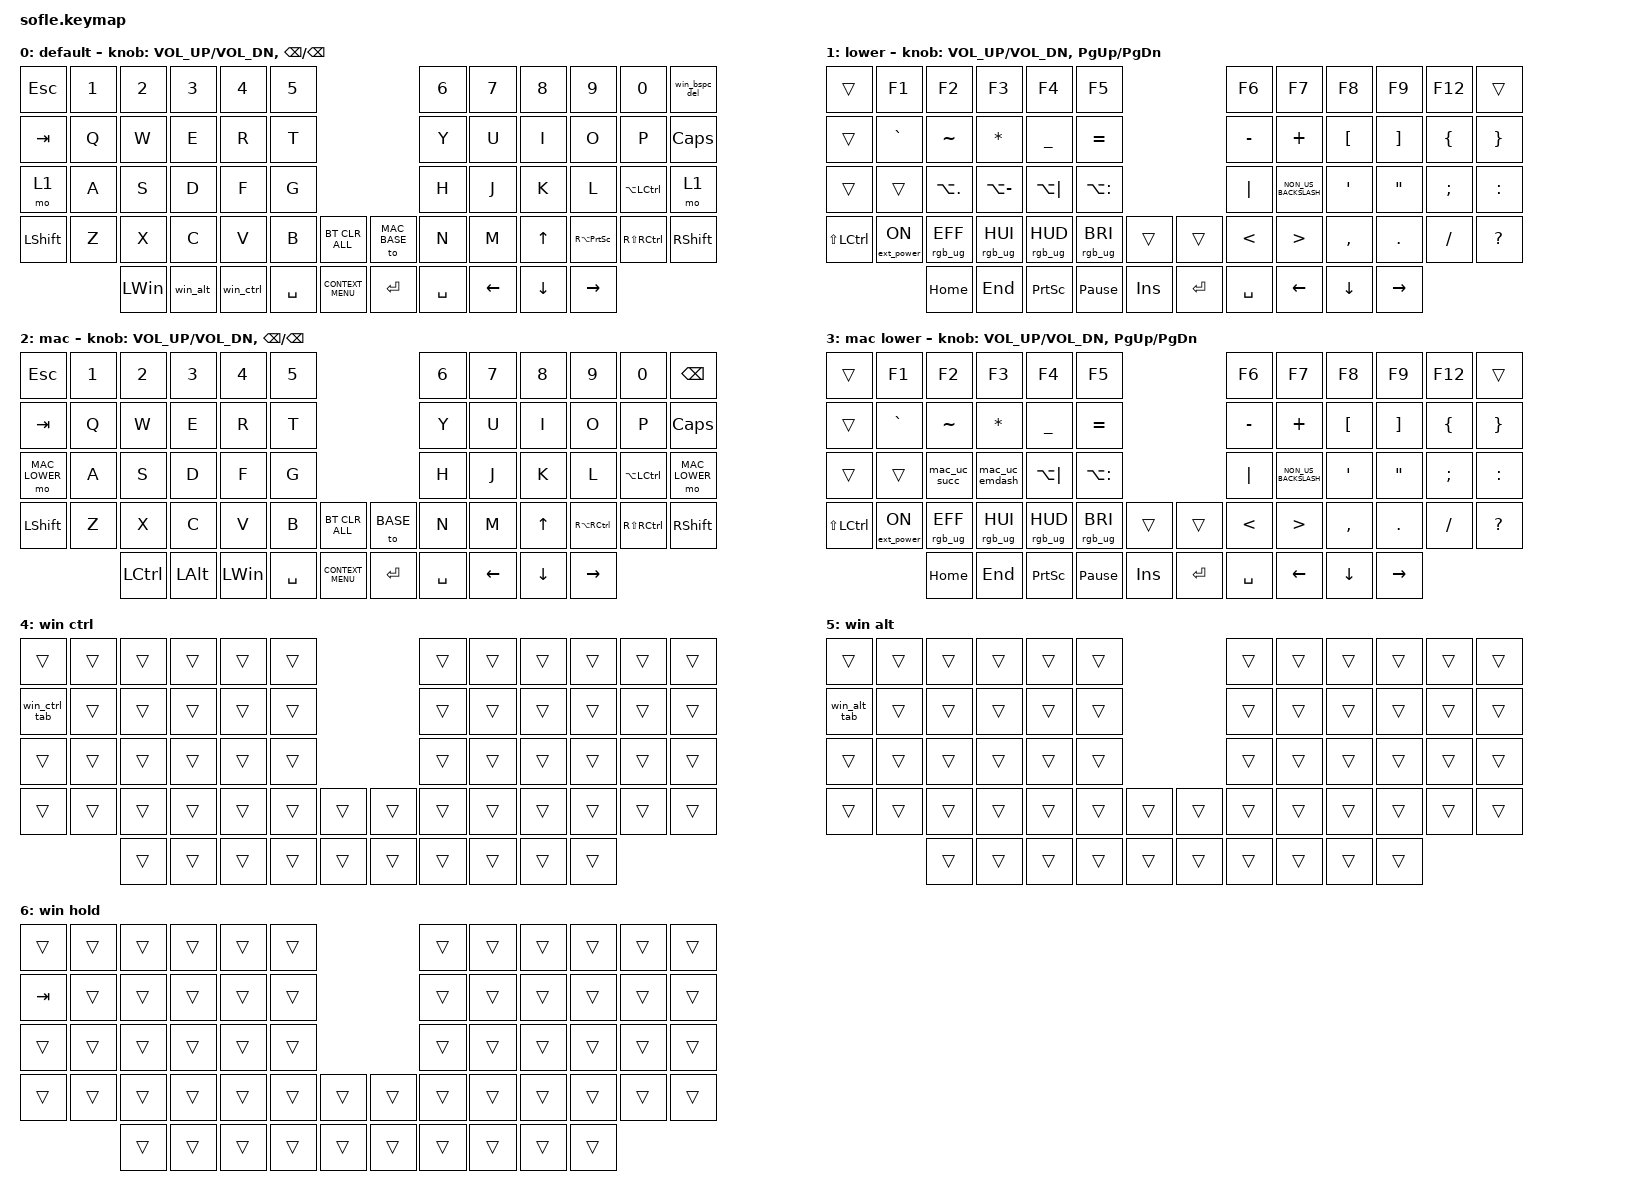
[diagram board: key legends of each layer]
/*
 * Copyright (c) 2020 The ZMK Contributors
 *
 * SPDX-License-Identifier: MIT
 */

#include <behaviors.dtsi>
#include <dt-bindings/zmk/bt.h>
#include <dt-bindings/zmk/ext_power.h>
#include <dt-bindings/zmk/keys.h>
#include <dt-bindings/zmk/rgb.h>

#define BASE 0
#define LOWER 1
#define MAC_BASE 2
#define MAC_LOWER 3
#define WIN_CTRL 4
#define WIN_ALT 5
#define WIN_HOLD 6

/ {
    behaviors {
        win_bspc_del: win_bspc_del {
            compatible = "zmk,behavior-mod-morph";
            #binding-cells = <0>;
            bindings = <&kp BACKSPACE>, <&kp DELETE>;

            mods = <(MOD_LCTL)>;
        };
    };

    macros {
        // macOS Unicode Hex Input: hold Option (LALT) and type the 4-digit hex code.

        mac_uc_succ: mac_uc_succ {
            compatible = "zmk,behavior-macro";
            #binding-cells = <0>;
            wait-ms = <40>;
            tap-ms = <40>;
            bindings =
                <&macro_press>,
                <&kp LALT>,
                <&macro_tap>,
                <&kp N2 &kp N2 &kp D &kp F>,
                <&macro_release>,
                <&kp LALT>;
        };

        mac_uc_emdash: mac_uc_emdash {
            compatible = "zmk,behavior-macro";
            #binding-cells = <0>;
            wait-ms = <40>;
            tap-ms = <40>;
            bindings =
                <&macro_press>,
                <&kp LALT>,
                <&macro_tap>,
                <&kp N2 &kp N0 &kp N1 &kp N4>,
                <&macro_release>,
                <&kp LALT>;
        };

        // Windows: Ctrl and Alt thumb keys swap their Tab shortcuts. Ctrl + Tab
        // sends Alt+Tab (app switcher, like Cmd+Tab on Mac), Alt + Tab sends
        // Ctrl+Tab (browser tabs). The swapped modifier stays held until the
        // thumb key is released, so tapping Tab again keeps cycling.
        // Releasing a modifier that isn't held is a no-op in ZMK, so the
        // thumb releases don't need to know whether Tab was used.

        win_ctrl: win_ctrl {
            compatible = "zmk,behavior-macro";
            #binding-cells = <0>;
            wait-ms = <0>;
            tap-ms = <0>;
            bindings =
                <&macro_press>,
                <&mo WIN_CTRL &kp LCTRL>,
                <&macro_pause_for_release>,
                <&macro_release>,
                <&mo WIN_HOLD &mo WIN_CTRL &kp LALT &kp LCTRL>;
        };

        // Press Alt before letting go of Ctrl so Windows never sees a lone modifier tap.

        win_ctrl_tab: win_ctrl_tab {
            compatible = "zmk,behavior-macro";
            #binding-cells = <0>;
            wait-ms = <0>;
            tap-ms = <0>;
            bindings =
                <&macro_press>,
                <&kp LALT>,
                <&macro_release>,
                <&kp LCTRL>,
                <&macro_press>,
                <&mo WIN_HOLD &kp TAB>,
                <&macro_pause_for_release>,
                <&macro_release>,
                <&kp TAB>;
        };

        win_alt: win_alt {
            compatible = "zmk,behavior-macro";
            #binding-cells = <0>;
            wait-ms = <0>;
            tap-ms = <0>;
            bindings =
                <&macro_press>,
                <&mo WIN_ALT &kp LALT>,
                <&macro_pause_for_release>,
                <&macro_release>,
                <&mo WIN_HOLD &mo WIN_ALT &kp LCTRL &kp LALT>;
        };

        // Ctrl goes down before Alt comes up so Windows doesn't see a lone Alt tap (menu bar).

        win_alt_tab: win_alt_tab {
            compatible = "zmk,behavior-macro";
            #binding-cells = <0>;
            wait-ms = <0>;
            tap-ms = <0>;
            bindings =
                <&macro_press>,
                <&kp LCTRL>,
                <&macro_release>,
                <&kp LALT>,
                <&macro_press>,
                <&mo WIN_HOLD &kp TAB>,
                <&macro_pause_for_release>,
                <&macro_release>,
                <&kp TAB>;
        };
    };

    keymap {
        compatible = "zmk,keymap";

        window_default {
            label = "default";

            // ------------------------------------------------------------------------------------------------------------
            // |   `   |  1  |  2  |  3   |  4   |  5   |                   |  6   |  7    |  8    |  9   |   0   |       |
            // |  ESC  |  Q  |  W  |  E   |  R   |  T   |                   |  Y   |  U    |  I    |  O   |   P   | BKSPC |
            // |  TAB  |  A  |  S  |  D   |  F   |  G   |                   |  H   |  J    |  K    |  L   |   ;   |   '   |
            // | SHIFT |  Z  |  X  |  C   |  V   |  B   |  MUTE  |  |       |  N   |  M    |  ,    |  .   |   /   | SHIFT |
            //               | GUI | ALT  | CTRL | LOWER|  ENTER |  | SPACE | RAISE| CTRL  | ALT   | GUI  |

            bindings = <
&kp ESCAPE      &kp N1  &kp N2        &kp N3    &kp N4            &kp N5                                         &kp N6     &kp N7          &kp N8          &kp N9               &kp N0                 &win_bspc_del
&kp TAB         &kp Q   &kp W         &kp E     &kp R             &kp T                                          &kp Y      &kp U           &kp I           &kp O                &kp P                  &kp CAPSLOCK
&mo 1           &kp A   &kp S         &kp D     &kp F             &kp G                                          &kp H      &kp J           &kp K           &kp L                &kp LA(LEFT_CONTROL)   &mo 1
&kp LEFT_SHIFT  &kp Z   &kp X         &kp C     &kp V             &kp B      &bt BT_CLR_ALL        &to MAC_BASE  &kp N      &kp M           &kp UP_ARROW    &kp RA(PRINTSCREEN)  &kp RS(RIGHT_CONTROL)  &kp RIGHT_SHIFT
                        &kp LEFT_WIN  &win_alt  &win_ctrl         &kp SPACE  &kp K_CONTEXT_MENU    &kp ENTER     &kp SPACE  &kp LEFT_ARROW  &kp DOWN_ARROW  &kp RIGHT_ARROW
            >;

            sensor-bindings =
                <&inc_dec_kp C_VOL_UP C_VOL_DN>,
                <&inc_dec_kp BACKSPACE BACKSPACE>;
        };

        window_lower_layer {
            label = "lower";

            // TODO: Some binds are waiting for shifted keycode support.
            // ------------------------------------------------------------------------------------------------------------
            // |  ESC  |  F1 |  F2 |  F3  |  F4  |  F5  |                   |  F6  |  F7   |  F8   |  F9  |  F12  | BKSPC |
            // |   `   |  1  |  2  |  3   |  4   |  5   |                   |  6   |  7    |  8    |  9   |   0   |  F12  |
            // |       |  !  |  @  |  #   |  $   |  %   |                   |  ^   |  &    |  *    |  (   |   )   |   |   |
            // |       |  =  |  -  |  +   |  {   |  }   |        |  |       |  [   |  ]    |  ;    |  :   |   \   |       |
            //               |RGBTOG|RGBEFF|RGBHUI|RGBHUD|RGBBRI  |ENTER   |  | SPACE | LEFT  | DOWN  |RIGHT |

            bindings = <
&trans                &kp F1           &kp F2           &kp F3           &kp F4           &kp F5                                    &kp F6         &kp F7                &kp F8            &kp F9             &kp F12         &trans
&trans                &kp GRAVE        &kp TILDE        &kp ASTERISK     &kp UNDERSCORE   &kp EQUAL                                 &kp MINUS      &kp PLUS              &kp LBKT          &kp RBKT           &kp LEFT_BRACE  &kp RIGHT_BRACE
&trans                &trans           &kp LA(DOT)      &kp LA(MINUS)    &kp LA(PIPE)     &kp LA(COLON)                             &kp PIPE       &kp NON_US_BACKSLASH  &kp SINGLE_QUOTE  &kp DOUBLE_QUOTES  &kp SEMICOLON   &kp COLON
&kp LS(LEFT_CONTROL)  &ext_power EP_ON  &rgb_ug RGB_EFF  &rgb_ug RGB_HUI  &rgb_ug RGB_HUD  &rgb_ug RGB_BRI  &trans        &trans     &kp LESS_THAN  &kp GREATER_THAN      &kp COMMA         &kp PERIOD         &kp SLASH       &kp QUESTION
                                       &kp HOME         &kp END          &kp PRINTSCREEN  &kp PAUSE_BREAK  &kp INSERT    &kp ENTER  &kp SPACE      &kp LEFT_ARROW        &kp DOWN_ARROW    &kp RIGHT_ARROW
            >;

            sensor-bindings = <&inc_dec_kp C_VOL_UP C_VOL_DN &inc_dec_kp PG_UP PG_DN>;
        };

        mac_default {
            label = "mac";

            // Same as window_default, but CTRL and GUI (Cmd) are swapped so
            // Cmd sits where Ctrl was on Windows.

            bindings = <
&kp ESCAPE      &kp N1  &kp N2            &kp N3    &kp N4        &kp N5                                      &kp N6     &kp N7          &kp N8          &kp N9                 &kp N0                 &kp BACKSPACE
&kp TAB         &kp Q   &kp W             &kp E     &kp R         &kp T                                       &kp Y      &kp U           &kp I           &kp O                  &kp P                  &kp CAPSLOCK
&mo MAC_LOWER   &kp A   &kp S             &kp D     &kp F         &kp G                                       &kp H      &kp J           &kp K           &kp L                  &kp LA(LEFT_CONTROL)   &mo MAC_LOWER
&kp LEFT_SHIFT  &kp Z   &kp X             &kp C     &kp V         &kp B      &bt BT_CLR_ALL        &to BASE   &kp N      &kp M           &kp UP_ARROW    &kp RA(RIGHT_CONTROL)  &kp RS(RIGHT_CONTROL)  &kp RIGHT_SHIFT
                        &kp LEFT_CONTROL  &kp LALT  &kp LEFT_WIN  &kp SPACE  &kp K_CONTEXT_MENU    &kp ENTER  &kp SPACE  &kp LEFT_ARROW  &kp DOWN_ARROW  &kp RIGHT_ARROW
            >;

            sensor-bindings =
                <&inc_dec_kp C_VOL_UP C_VOL_DN>,
                <&inc_dec_kp BACKSPACE BACKSPACE>;
        };

        mac_lower_layer {
            label = "mac lower";

            // Same as window_lower_layer.

            bindings = <
&trans                &kp F1           &kp F2           &kp F3           &kp F4           &kp F5                                    &kp F6         &kp F7                &kp F8            &kp F9             &kp F12         &trans
&trans                &kp GRAVE        &kp TILDE        &kp ASTERISK     &kp UNDERSCORE   &kp EQUAL                                 &kp MINUS      &kp PLUS              &kp LBKT          &kp RBKT           &kp LEFT_BRACE  &kp RIGHT_BRACE
&trans                &trans           &mac_uc_succ     &mac_uc_emdash   &kp LA(PIPE)     &kp LA(COLON)                             &kp PIPE       &kp NON_US_BACKSLASH  &kp SINGLE_QUOTE  &kp DOUBLE_QUOTES  &kp SEMICOLON   &kp COLON
&kp LS(LEFT_CONTROL)  &ext_power EP_ON  &rgb_ug RGB_EFF  &rgb_ug RGB_HUI  &rgb_ug RGB_HUD  &rgb_ug RGB_BRI  &trans        &trans     &kp LESS_THAN  &kp GREATER_THAN      &kp COMMA         &kp PERIOD         &kp SLASH       &kp QUESTION
                                       &kp HOME         &kp END          &kp PRINTSCREEN  &kp PAUSE_BREAK  &kp INSERT    &kp ENTER  &kp SPACE      &kp LEFT_ARROW        &kp DOWN_ARROW    &kp RIGHT_ARROW
            >;

            sensor-bindings = <&inc_dec_kp C_VOL_UP C_VOL_DN &inc_dec_kp PG_UP PG_DN>;
        };

        win_ctrl_layer {
            label = "win ctrl";

            // Active while the Windows Ctrl thumb key is held.

            bindings = <
&trans         &trans  &trans  &trans  &trans  &trans                    &trans  &trans  &trans  &trans  &trans  &trans
&win_ctrl_tab  &trans  &trans  &trans  &trans  &trans                    &trans  &trans  &trans  &trans  &trans  &trans
&trans         &trans  &trans  &trans  &trans  &trans                    &trans  &trans  &trans  &trans  &trans  &trans
&trans         &trans  &trans  &trans  &trans  &trans  &trans    &trans  &trans  &trans  &trans  &trans  &trans  &trans
                       &trans  &trans  &trans  &trans  &trans    &trans  &trans  &trans  &trans  &trans
            >;
        };

        win_alt_layer {
            label = "win alt";

            // Active while the Windows Alt thumb key is held.

            bindings = <
&trans        &trans  &trans  &trans  &trans  &trans                    &trans  &trans  &trans  &trans  &trans  &trans
&win_alt_tab  &trans  &trans  &trans  &trans  &trans                    &trans  &trans  &trans  &trans  &trans  &trans
&trans        &trans  &trans  &trans  &trans  &trans                    &trans  &trans  &trans  &trans  &trans  &trans
&trans        &trans  &trans  &trans  &trans  &trans  &trans    &trans  &trans  &trans  &trans  &trans  &trans  &trans
                      &trans  &trans  &trans  &trans  &trans    &trans  &trans  &trans  &trans  &trans
            >;
        };

        win_hold_layer {
            label = "win hold";

            // After the first Tab, later Tabs are plain taps while the swapped modifier stays down.

            bindings = <
&trans   &trans  &trans  &trans  &trans  &trans                    &trans  &trans  &trans  &trans  &trans  &trans
&kp TAB  &trans  &trans  &trans  &trans  &trans                    &trans  &trans  &trans  &trans  &trans  &trans
&trans   &trans  &trans  &trans  &trans  &trans                    &trans  &trans  &trans  &trans  &trans  &trans
&trans   &trans  &trans  &trans  &trans  &trans  &trans    &trans  &trans  &trans  &trans  &trans  &trans  &trans
                 &trans  &trans  &trans  &trans  &trans    &trans  &trans  &trans  &trans  &trans
            >;
        };
    };
};
